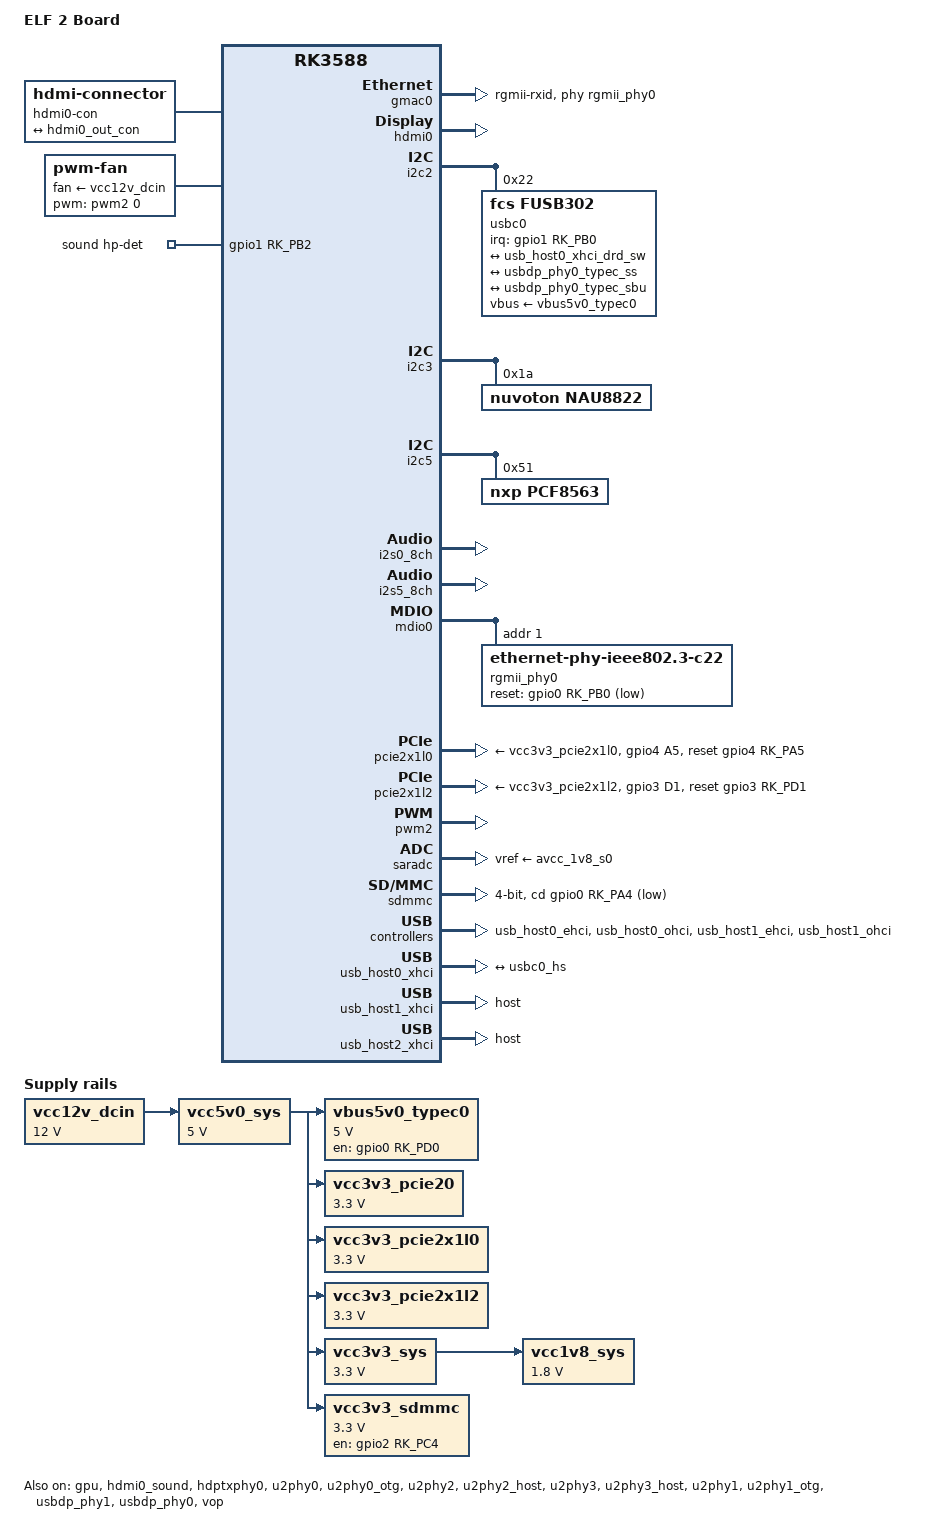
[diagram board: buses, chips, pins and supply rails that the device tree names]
// SPDX-License-Identifier: (GPL-2.0+ OR MIT)
/*
 * Device tree for ELF 2 Board (ELF3588) based on RK3588
 * Based on rk3588-ok3588-c.dts (Forlinx) which shares very similar hardware
 */

/dts-v1/;

#include <dt-bindings/gpio/gpio.h>
#include <dt-bindings/input/input.h>
#include <dt-bindings/pinctrl/rockchip.h>
#include <dt-bindings/soc/rockchip,vop2.h>
#include <dt-bindings/usb/pd.h>
#include "rk3588-fet3588-c.dtsi"

/ {
	model = "ELF 2 Board";
	compatible = "ELFboard,elf2", "forlinx,fet3588-c", "rockchip,rk3588";

	aliases {
		ethernet0 = &gmac0;
		mmc1 = &sdmmc;
	};

	hdmi0-con {
		compatible = "hdmi-connector";
		type = "a";

		port {
			hdmi0_con_in: endpoint {
				remote-endpoint = <&hdmi0_out_con>;
			};
		};
	};

	fan: pwm-fan {
		compatible = "pwm-fan";
		cooling-levels = <0 95 145 195 255>;
		fan-supply = <&vcc12v_dcin>;
		pwms = <&pwm2 0 50000 0>;
		#cooling-cells = <2>;
	};

	sound {
		compatible = "simple-audio-card";
		pinctrl-names = "default";
		pinctrl-0 = <&hp_detect>;
		simple-audio-card,name = "RK3588 ELF2 Audio";
		simple-audio-card,bitclock-master = <&masterdai>;
		simple-audio-card,format = "i2s";
		simple-audio-card,frame-master = <&masterdai>;
		simple-audio-card,hp-det-gpios = <&gpio1 RK_PB2 GPIO_ACTIVE_HIGH>;
		simple-audio-card,mclk-fs = <256>;
		simple-audio-card,pin-switches = "Headphones", "Speaker";
		simple-audio-card,widgets =
			"Headphones", "Headphones",
			"Speaker", "Speaker",
			"Microphone", "Internal Microphone",
			"Microphone", "Headset Microphone";
		simple-audio-card,routing =
			"Headphones", "LHP",
			"Headphones", "RHP",
			"Speaker", "LSPK",
			"Speaker", "RSPK",
			"LMICP", "Headset Microphone",
			"RMICP", "Internal Microphone";

		simple-audio-card,cpu {
			sound-dai = <&i2s0_8ch>;
		};

		masterdai: simple-audio-card,codec {
			sound-dai = <&nau8822>;
		};
	};

	vbus5v0_typec0: regulator-vbus5v0-typec0 {
		compatible = "regulator-fixed";
		enable-active-high;
		gpio = <&gpio0 RK_PD0 GPIO_ACTIVE_HIGH>;
		pinctrl-names = "default";
		pinctrl-0 = <&typec5v_pwren0>;
		regulator-name = "vbus5v0_typec0";
		regulator-min-microvolt = <5000000>;
		regulator-max-microvolt = <5000000>;
		vin-supply = <&vcc5v0_sys>;
	};

	vcc12v_dcin: regulator-vcc12v-dcin {
		compatible = "regulator-fixed";
		regulator-name = "vcc12v_dcin";
		regulator-always-on;
		regulator-boot-on;
		regulator-min-microvolt = <12000000>;
		regulator-max-microvolt = <12000000>;
	};

	vcc5v0_sys: regulator-vcc5v0-sys {
		compatible = "regulator-fixed";
		regulator-name = "vcc5v0_sys";
		regulator-always-on;
		regulator-boot-on;
		regulator-min-microvolt = <5000000>;
		regulator-max-microvolt = <5000000>;
		vin-supply = <&vcc12v_dcin>;
	};

	vcc1v8_sys: regulator-vcc1v8-sys {
		compatible = "regulator-fixed";
		regulator-name = "vcc1v8_sys";
		regulator-always-on;
		regulator-boot-on;
		regulator-min-microvolt = <1800000>;
		regulator-max-microvolt = <1800000>;
		vin-supply = <&vcc3v3_sys>;
	};

	vcc3v3_pcie20: regulator-vcc3v3-pcie20 {
		compatible = "regulator-fixed";
		regulator-name = "vcc3v3_pcie20";
		regulator-always-on;
		regulator-boot-on;
		regulator-min-microvolt = <3300000>;
		regulator-max-microvolt = <3300000>;
		vin-supply = <&vcc5v0_sys>;
	};

	vcc3v3_pcie2x1l0: regulator-vcc3v3-pcie2x1l0 {
		compatible = "regulator-fixed";
		regulator-name = "vcc3v3_pcie2x1l0";
		regulator-min-microvolt = <3300000>;
		regulator-max-microvolt = <3300000>;
		startup-delay-us = <50000>;
		vin-supply = <&vcc5v0_sys>;
	};

	vcc3v3_pcie2x1l2: regulator-vcc3v3-pcie2x1l2 {
		compatible = "regulator-fixed";
		regulator-name = "vcc3v3_pcie2x1l2";
		regulator-min-microvolt = <3300000>;
		regulator-max-microvolt = <3300000>;
		startup-delay-us = <5000>;
		vin-supply = <&vcc5v0_sys>;
	};

	vcc3v3_sys: regulator-vcc3v3-sys {
		compatible = "regulator-fixed";
		regulator-name = "vcc3v3_sys";
		regulator-always-on;
		regulator-boot-on;
		regulator-min-microvolt = <3300000>;
		regulator-max-microvolt = <3300000>;
		vin-supply = <&vcc5v0_sys>;
	};

	vcc3v3_sdmmc: regulator-vcc3v3-sdmmc {
		compatible = "regulator-fixed";
		regulator-name = "vcc3v3_sdmmc";
		regulator-always-on;
		regulator-boot-on;
		regulator-min-microvolt = <3300000>;
		regulator-max-microvolt = <3300000>;
		enable-active-high;
		gpios = <&gpio2 RK_PC4 GPIO_ACTIVE_HIGH>;
		startup-delay-us = <5000>;
		vin-supply = <&vcc5v0_sys>;
	};
};

/* ===== Network (GMAC0) ===== */
&gmac0 {
	clock_in_out = "output";
	phy-handle = <&rgmii_phy0>;
	phy-mode = "rgmii-rxid";
	pinctrl-names = "default";
	pinctrl-0 = <&gmac0_miim
		     &gmac0_tx_bus2
		     &gmac0_rx_bus2
		     &gmac0_rgmii_clk
		     &gmac0_rgmii_bus>;
	tx_delay = <0x44>;
	rx_delay = <0x00>;
	status = "okay";
};

&gpu {
	mali-supply = <&vdd_gpu_s0>;
	status = "okay";
};

/* ===== HDMI Output ===== */
&hdmi0 {
	status = "okay";
};

&hdmi0_in {
	hdmi0_in_vp0: endpoint {
		remote-endpoint = <&vp0_out_hdmi0>;
	};
};

&hdmi0_out {
	hdmi0_out_con: endpoint {
		remote-endpoint = <&hdmi0_con_in>;
	};
};

&hdmi0_sound {
	status = "okay";
};

&hdptxphy0 {
	status = "okay";
};

/* ===== I2C buses ===== */
&i2c2 {
	status = "okay";

	usbc0: usb-typec@22 {
		compatible = "fcs,fusb302";
		reg = <0x22>;
		interrupt-parent = <&gpio1>;
		interrupts = <RK_PB0 IRQ_TYPE_LEVEL_LOW>;
		pinctrl-names = "default";
		pinctrl-0 = <&usbc0_int>;
		vbus-supply = <&vbus5v0_typec0>;
		status = "okay";

		usb_con0: connector {
			compatible = "usb-c-connector";
			data-role = "dual";
			label = "USB-C";
			power-role = "dual";
			try-power-role = "sink";
			op-sink-microwatt = <1000000>;
			source-pdos = <PDO_FIXED(5000, 3000, PDO_FIXED_USB_COMM)>;
			sink-pdos = <PDO_FIXED(5000, 1000, PDO_FIXED_USB_COMM)>;

			ports {
				#address-cells = <1>;
				#size-cells = <0>;

				port@0 {
					reg = <0>;

					usbc0_hs: endpoint {
						remote-endpoint = <&usb_host0_xhci_drd_sw>;
					};
				};

				port@1 {
					reg = <1>;

					usbc0_ss: endpoint {
						remote-endpoint = <&usbdp_phy0_typec_ss>;
					};
				};

				port@2 {
					reg = <2>;

					usbc0_sbu: endpoint {
						remote-endpoint = <&usbdp_phy0_typec_sbu>;
					};
				};
			};
		};
	};
};

&i2c3 {
	status = "okay";

	nau8822: audio-codec@1a {
		compatible = "nuvoton,nau8822";
		reg = <0x1a>;
		clocks = <&cru I2S0_8CH_MCLKOUT>;
		clock-names = "mclk";
		assigned-clocks = <&cru I2S0_8CH_MCLKOUT>;
		assigned-clock-rates = <12288000>;
		#sound-dai-cells = <0>;
	};
};

&i2c5 {
	status = "okay";
	pinctrl-names = "default";
	pinctrl-0 = <&i2c5m2_xfer>;

	pcf8563: rtc@51 {
		compatible = "nxp,pcf8563";
		reg = <0x51>;
	};
};

&i2s0_8ch {
	pinctrl-names = "default";
	pinctrl-0 = <&i2s0_lrck
		     &i2s0_mclk
		     &i2s0_sclk
		     &i2s0_sdi0
		     &i2s0_sdo0>;
	status = "okay";
};

&i2s5_8ch {
	status = "okay";
};

/* ===== PHY for Ethernet ===== */
&mdio0 {
	rgmii_phy0: ethernet-phy@1 {
		compatible = "ethernet-phy-ieee802.3-c22";
		reg = <0x1>;
		pinctrl-names = "default";
		pinctrl-0 = <&rtl8211f_rst>;
		reset-assert-us = <20000>;
		reset-deassert-us = <100000>;
		reset-gpios = <&gpio0 RK_PB0 GPIO_ACTIVE_LOW>;
	};
};

/* ===== PCIe ===== */
&pcie2x1l0 {
	pinctrl-names = "default";
	pinctrl-0 = <&pcie2_0_rst>;
	reset-gpios = <&gpio4 RK_PA5 GPIO_ACTIVE_HIGH>;
	vpcie3v3-supply = <&vcc3v3_pcie2x1l0>;
	status = "okay";
};

&pcie2x1l2 {
	pinctrl-names = "default";
	pinctrl-0 = <&pcie2_2_rst>;
	reset-gpios = <&gpio3 RK_PD1 GPIO_ACTIVE_HIGH>;
	vpcie3v3-supply = <&vcc3v3_pcie2x1l2>;
	status = "okay";
};

&pd_gpu {
	domain-supply = <&vdd_gpu_s0>;
};

/* ===== Pinctrl ===== */
&pinctrl {
	pcie2 {
		pcie2_0_rst: pcie2-0-rst {
			rockchip,pins = <4 RK_PA5 RK_FUNC_GPIO &pcfg_pull_none>;
		};

		pcie2_2_rst: pcie2-2-rst {
			rockchip,pins = <3 RK_PD1 RK_FUNC_GPIO &pcfg_pull_none>;
		};
	};

	rtl8211f {
		rtl8211f_rst: rtl8211f-rst {
			rockchip,pins = <0 RK_PB0 RK_FUNC_GPIO &pcfg_pull_none>;
		};
	};

	sound {
		hp_detect: hp-detect {
			rockchip,pins = <1 RK_PB2 RK_FUNC_GPIO &pcfg_pull_none>;
		};
	};

	usb-typec {
		usbc0_int: usbc0-int {
			rockchip,pins = <1 RK_PB0 RK_FUNC_GPIO &pcfg_pull_up>;
		};

		typec5v_pwren0: typec5v-pwren0 {
			rockchip,pins = <0 RK_PD0 RK_FUNC_GPIO &pcfg_pull_none>;
		};
	};
};

&pwm2 {
	status = "okay";
};

&saradc {
	vref-supply = <&avcc_1v8_s0>;
	status = "okay";
};

/* ===== Storage ===== */
&sdmmc {
	bus-width = <4>;
	cap-mmc-highspeed;
	cap-sd-highspeed;
	cd-gpios = <&gpio0 RK_PA4 GPIO_ACTIVE_LOW>;
	disable-wp;
	max-frequency = <150000000>;
	no-sdio;
	no-mmc;
	sd-uhs-sdr104;
	vqmmc-supply = <&vccio_sd_s0>;
	status = "okay";
};

/* ===== USB - Critical for external USB HDD ===== */
&u2phy0 {
	status = "okay";
};

&u2phy0_otg {
	status = "okay";
};

&u2phy2 {
	status = "okay";
};

&u2phy2_host {
	status = "okay";
};

&u2phy3 {
	status = "okay";
};

&u2phy3_host {
	status = "okay";
};

&usb_host0_ehci {
	status = "okay";
};

&usb_host0_ohci {
	status = "okay";
};

&usb_host1_ehci {
	status = "okay";
};

&usb_host1_ohci {
	status = "okay";
};

&usb_host0_xhci {
	usb-role-switch;

	port {
		usb_host0_xhci_drd_sw: endpoint {
			remote-endpoint = <&usbc0_hs>;
		};
	};
};

/* usbdp_phy1 + u2phy1 needed for usb_host1_xhci (fc400000) */
&u2phy1 {
	status = "okay";
};

&u2phy1_otg {
	status = "okay";
};

&usbdp_phy1 {
	status = "okay";
};

&usb_host1_xhci {
	dr_mode = "host";
	status = "okay";
};

&usb_host2_xhci {
	dr_mode = "host";
	status = "okay";
	snps,parkmode-disable-ss-quirk;
	snps,xhci-trb-ent-quirk;
};

&usbdp_phy0 {
	mode-switch;
	orientation-switch;
	sbu1-dc-gpios = <&gpio4 RK_PA0 GPIO_ACTIVE_HIGH>;
	sbu2-dc-gpios = <&gpio4 RK_PB0 GPIO_ACTIVE_HIGH>;
	status = "okay";

	port {
		#address-cells = <1>;
		#size-cells = <0>;

		usbdp_phy0_typec_ss: endpoint@0 {
			reg = <0>;
			remote-endpoint = <&usbc0_ss>;
		};

		usbdp_phy0_typec_sbu: endpoint@1 {
			reg = <1>;
			remote-endpoint = <&usbc0_sbu>;
		};
	};
};

/* ===== Display ===== */
&vop {
	status = "okay";
};

&vop_mmu {
	status = "okay";
};

&vp0 {
	vp0_out_hdmi0: endpoint@ROCKCHIP_VOP2_EP_HDMI0 {
		reg = <ROCKCHIP_VOP2_EP_HDMI0>;
		remote-endpoint = <&hdmi0_in_vp0>;
	};
};

